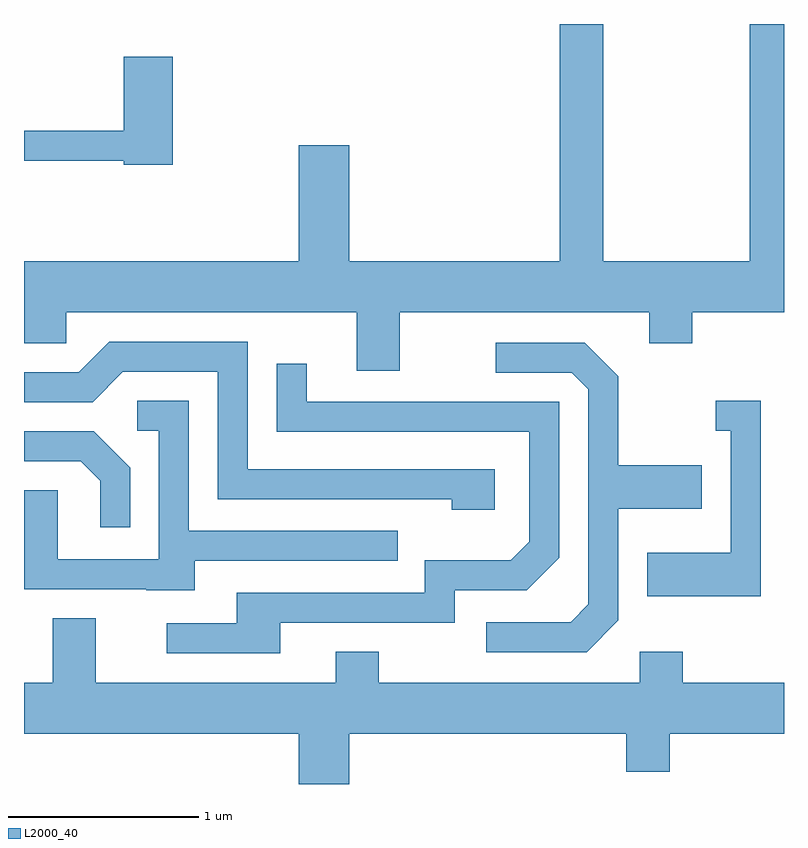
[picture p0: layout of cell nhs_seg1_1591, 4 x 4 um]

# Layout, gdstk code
import gdstk
lib = gdstk.Library(unit=1e-6, precision=1e-09)
def P(c, l, *ps):  # polygons
    for p in ps: c.add(gdstk.Polygon(p, *l))
L2000_40 = (2000, 40)

nhs_seg1_1591 = lib.new_cell('nhs_seg1_1591')
P(nhs_seg1_1591, L2000_40, [(235.589,946.196),(236.901,946.196),(236.901,946.031),(237.129,946.031),(237.129,946.196),(237.611,946.196),(237.611,947.712),(237.431,947.712),(237.431,946.464),(236.659,946.464),(236.659,947.712),(236.431,947.712),(236.431,946.464),(235.324,946.464),(235.324,947.074),(235.056,947.074),(235.056,946.464),(233.611,946.464),(233.611,946.031),(233.834,946.031),(233.834,946.196),(235.361,946.196),(235.361,945.886),(235.589,945.886)],
  [(234.394,947.539),(234.136,947.539),(234.136,947.149),(233.611,947.149),(233.611,946.991),(234.136,946.991),(234.136,946.971),(234.394,946.971)],
  [(236.089,945.369),(234.789,945.369),(234.789,946.039),(234.059,946.039),(233.899,945.879),(233.611,945.879),(233.611,945.721),(233.972,945.721),(234.132,945.881),(234.631,945.881),(234.631,945.211),(235.861,945.211),(235.861,945.156),(236.089,945.156)],
  [(236.739,944.574),(236.739,945.161),(237.179,945.161),(237.179,945.389),(236.739,945.389),(236.739,945.857),(236.562,946.034),(236.093,946.034),(236.093,945.876),(236.494,945.876),(236.581,945.789),(236.581,944.657),(236.489,944.564),(236.043,944.564),(236.043,944.406),(236.572,944.406)],
  [(234.959,944.561),(235.879,944.561),(235.879,944.731),(236.257,944.731),(236.429,944.904),(236.429,945.724),(235.099,945.724),(235.099,945.923),(234.941,945.923),(234.941,945.566),(236.271,945.566),(236.271,944.987),(236.174,944.889),(235.721,944.889),(235.721,944.719),(234.731,944.719),(234.731,944.559),(234.363,944.559),(234.363,944.401),(234.959,944.401)],
  [(234.509,944.886),(235.578,944.886),(235.578,945.044),(234.479,945.044),(234.479,945.729),(234.208,945.729),(234.208,945.571),(234.321,945.571),(234.321,944.894),(233.789,944.894),(233.789,945.259),(233.611,945.259),(233.611,944.736),(234.255,944.736),(234.255,944.731),(234.509,944.731)],
  [(237.489,945.729),(237.253,945.729),(237.253,945.571),(237.331,945.571),(237.331,944.929),(236.891,944.929),(236.891,944.701),(237.489,944.701)],
  [(234.169,945.377),(233.977,945.569),(233.611,945.569),(233.611,945.411),(233.909,945.411),(234.011,945.309),(234.011,945.063),(234.169,945.063)],
  [(235.324,943.976),(236.781,943.976),(236.781,943.776),(237.009,943.776),(237.009,943.976),(237.611,943.976),(237.611,944.244),(237.079,944.244),(237.079,944.409),(236.851,944.409),(236.851,944.244),(235.479,944.244),(235.479,944.409),(235.251,944.409),(235.251,944.244),(233.989,944.244),(233.989,944.584),(233.761,944.584),(233.761,944.244),(233.611,944.244),(233.611,943.976),(235.056,943.976),(235.056,943.712),(235.324,943.712)])

lib.write_gds('nhs_seg1_1591.gds')
